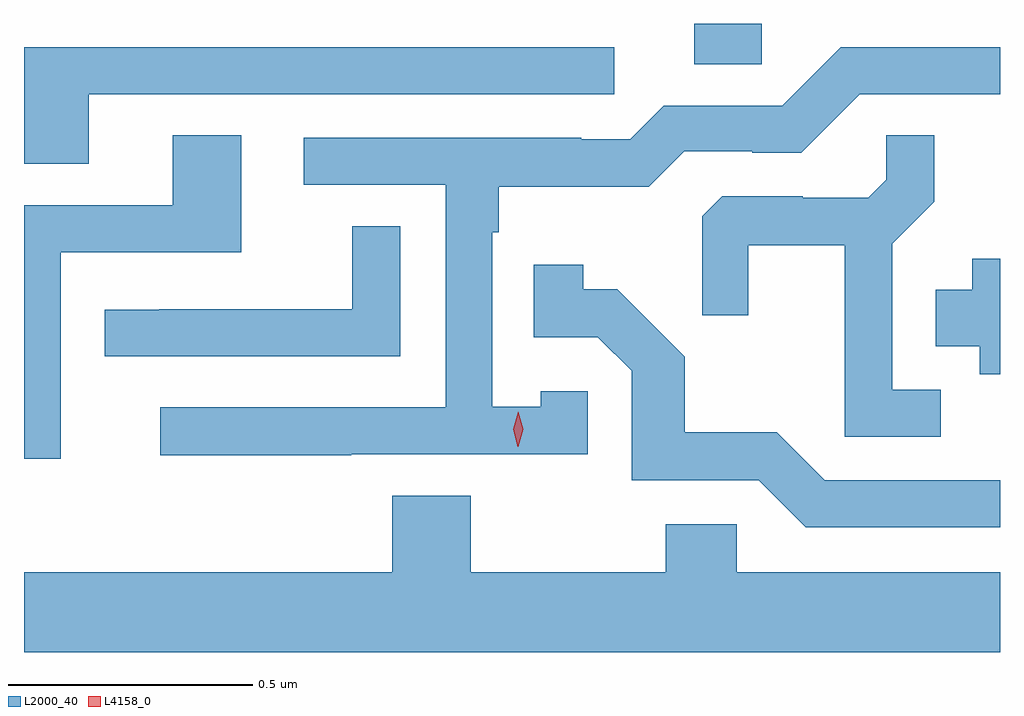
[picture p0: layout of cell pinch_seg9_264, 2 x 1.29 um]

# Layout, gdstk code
import gdstk
lib = gdstk.Library(unit=1e-6, precision=1e-09)
def R(c, l, rs):  # rectangles x0, y0, x1, y1
    for r in rs: c.add(gdstk.rectangle(r[:2], r[2:], *l))
def P(c, l, *ps):  # polygons
    for p in ps: c.add(gdstk.Polygon(p, *l))
L2000_40 = (2000, 40)
L4158_0 = (4158, 0)

pinch_seg9_264 = lib.new_cell('pinch_seg9_264')
R(pinch_seg9_264, L2000_40, [(486.431,1209.613,486.57,1209.696)])
P(pinch_seg9_264, L2000_40, [(485.729,1208.814),(486.213,1208.814),(486.213,1208.943),(486.117,1208.943),(486.117,1208.911),(486.018,1208.911),(486.018,1209.269),(486.031,1209.269),(486.031,1209.362),(486.338,1209.362),(486.411,1209.435),(486.55,1209.435),(486.55,1209.432),(486.651,1209.432),(486.771,1209.552),(487.058,1209.552),(487.058,1209.648),(486.732,1209.648),(486.612,1209.528),(486.369,1209.528),(486.3,1209.459),(486.2,1209.459),(486.2,1209.462),(485.631,1209.462),(485.631,1209.366),(485.922,1209.366),(485.922,1208.91),(485.337,1208.91),(485.337,1208.812),(485.729,1208.812)],
  [(485.191,1209.552),(486.268,1209.552),(486.268,1209.648),(485.058,1209.648),(485.058,1209.409),(485.191,1209.409)],
  [(486.937,1208.946),(486.837,1208.946),(486.837,1209.245),(486.923,1209.331),(486.923,1209.467),(486.825,1209.467),(486.825,1209.376),(486.788,1209.339),(486.654,1209.339),(486.654,1209.342),(486.489,1209.342),(486.448,1209.301),(486.448,1209.099),(486.542,1209.099),(486.542,1209.242),(486.74,1209.242),(486.74,1208.85),(486.937,1208.85)],
  [(485.133,1209.228),(485.503,1209.228),(485.503,1209.467),(485.363,1209.467),(485.363,1209.324),(485.058,1209.324),(485.058,1208.805),(485.133,1208.805)],
  [(485.829,1209.281),(485.731,1209.281),(485.731,1209.111),(485.335,1209.111),(485.335,1209.11),(485.223,1209.11),(485.223,1209.015),(485.829,1209.015)],
  [(487.058,1209.214),(487.001,1209.214),(487.001,1209.151),(486.926,1209.151),(486.926,1209.035),(487.016,1209.035),(487.016,1208.978),(487.058,1208.978)],
  [(487.058,1208.76),(486.699,1208.76),(486.601,1208.859),(486.412,1208.859),(486.412,1209.014),(486.274,1209.152),(486.204,1209.152),(486.204,1209.202),(486.103,1209.202),(486.103,1209.054),(486.234,1209.054),(486.303,1208.985),(486.303,1208.76),(486.564,1208.76),(486.66,1208.664),(487.058,1208.664)],
  [(487.058,1208.572),(486.519,1208.572),(486.519,1208.67),(486.373,1208.67),(486.373,1208.572),(485.973,1208.572),(485.973,1208.729),(485.813,1208.729),(485.813,1208.572),(485.058,1208.572),(485.058,1208.408),(487.058,1208.408)])
P(pinch_seg9_264, L4158_0, [(486.07,1208.829),(486.07,1208.829),(486.061,1208.865),(486.071,1208.901),(486.071,1208.901),(486.071,1208.901),(486.081,1208.865),(486.071,1208.829)])

lib.write_gds('pinch_seg9_264.gds')
